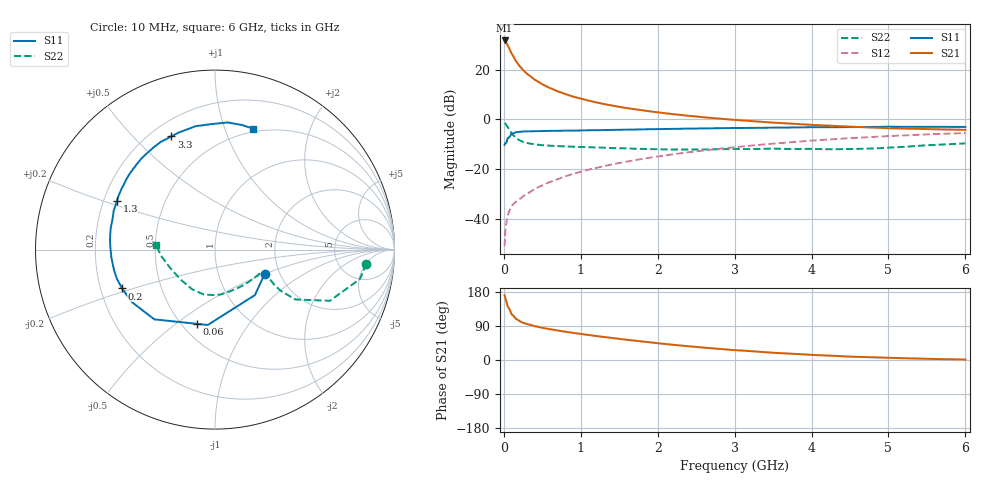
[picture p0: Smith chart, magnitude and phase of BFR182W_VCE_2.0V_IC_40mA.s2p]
! Infineon Technologies  Discrete & RF Semiconductors
! BFR182W
! VCE =  2.0 V,  IC =  40 mA
! Common Emitter S-Parameters:  Jan 2017
# GHz  S  MA  R  50
!  f  S11  S21  S12  S22
! GHz  MAG  ANG  MAG  ANG  MAG  ANG  MAG  ANG
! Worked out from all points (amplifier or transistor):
!   77 points, 10 MHz to 6 GHz, reference 50 ohm
!   highest |S21| = 31.8 dB at 10 MHz (marker M1)
!   |S21| within 3 dB of that: start of sweep to 67.03 MHz
!   unconditionally stable (mu >= 1): start of sweep to 12.14 MHz; 254.6 MHz to 2.982 GHz; 5.328 GHz to end of sweep
!   at 130 MHz: K = 0.72, MSG = 29.5 dB, |S12| = -33.9 dB
!   at 2.2 GHz: K = 1.08, MAG = 6.3 dB, |S12| = -14.1 dB
!   at 6 GHz: K = 1.02, MAG = -0.3 dB, |S12| = -5.5 dB
!   S11 on the Smith chart (normalised r, x): 10 MHz: 1.68, -0.50; 60 MHz: 0.59, -0.60; 200 MHz: 0.29, -0.18; 1.3 GHz: 0.26, +0.22; 3.3 GHz: 0.28, +0.65; 6 GHz: 0.47, +1.26
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0.01  0.3082 -25.7  38.87 171.1  0.0028 76.1  0.8468 -5.4
0.02  0.3371 -48.7  38.09 162.7  0.0057 76.6  0.8242 -11.4
0.05  0.4219 -95.5  31.21 141.5  0.0116 63.2  0.7015 -24.0
0.06  0.4256 -103.6  29.01 138.5  0.0128 61.5  0.6658 -25.2
0.1  0.5151 -131.0  21.4 120.9  0.0179 57.1  0.527 -31.8
0.15  0.5475 -147.7  15.59 110.1  0.0215 55.2  0.4315 -32.1
0.2  0.5614 -157.3  12.12 103.3  0.0242 58.8  0.382 -30.6
0.25  0.5708 -163.8  9.888 98.3  0.0284 59.6  0.3535 -28.8
0.3  0.574 -168.5  8.308 94.9  0.0314 62.9  0.3342 -27.4
0.4  0.5789 -175.4  6.329 89.3  0.0395 66.5  0.3143 -25.7
0.5  0.5828 179.2  5.094 85.0  0.047 69.1  0.3021 -25.3
0.6  0.5873 175.0  4.275 81.2  0.055 69.7  0.2951 -25.3
0.7  0.59 171.5  3.679 77.9  0.0626 71.9  0.2903 -26.1
0.9  0.5942 164.9  2.883 71.6  0.0797 72.6  0.2821 -28.7
1.1  0.6043 159.2  2.39 66.1  0.0971 72.9  0.2758 -32.1
1.3  0.6094 153.8  2.041 60.8  0.1137 72.5  0.2697 -36.1
2.1  0.6406 135.1  1.33 42.3  0.1884 68.1  0.2488 -58.8
3.1  0.6722 115.0  0.954 24.8  0.2851 58.9  0.2532 -91.7
3.3  0.6759 111.1  0.906 22.1  0.3048 56.8  0.2542 -97.8
4.1  0.6959 97.2  0.764 12.7  0.3825 47.8  0.2527 -123.4
5.1  0.7108 83.0  0.659 5.3  0.4682 35.8  0.2746 -161.2
6  0.7063 72.4  0.615 1.1  0.531 25.1  0.3292 175.2
